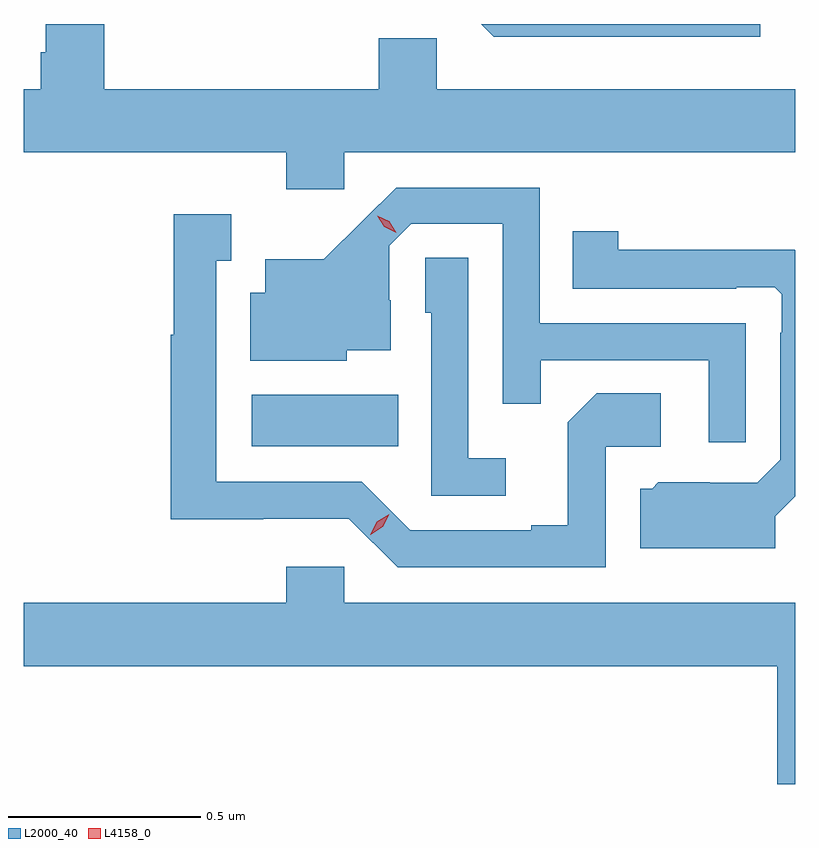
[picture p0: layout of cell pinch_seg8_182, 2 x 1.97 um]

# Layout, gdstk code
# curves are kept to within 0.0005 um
import gdstk
lib = gdstk.Library(unit=1e-6, precision=1e-09)
def R(c, l, rs):  # rectangles x0, y0, x1, y1
    for r in rs: c.add(gdstk.rectangle(r[:2], r[2:], *l))
def P(c, l, *ps):  # polygons
    for p in ps: c.add(gdstk.Polygon(p, *l))
L2000_40 = (2000, 40)
L4158_0 = (4158, 0)

pinch_seg8_182 = lib.new_cell('pinch_seg8_182')
R(pinch_seg8_182, L2000_40, [(633.324,1153.034,633.704,1153.168)])
P(pinch_seg8_182, L2000_40, [(632.789,1154.056),(632.777,1154.056),(632.777,1153.96),(632.733,1153.96),(632.733,1153.796),(633.413,1153.796),(633.413,1153.701),(633.564,1153.701),(633.564,1153.796),(634.733,1153.796),(634.733,1153.96),(633.804,1153.96),(633.804,1154.092),(633.653,1154.092),(633.653,1153.96),(632.942,1153.96),(632.942,1154.129),(632.789,1154.129)],
  [(634.642,1154.129),(633.919,1154.129),(633.952,1154.096),(634.642,1154.096)],
  [(634.605,1153.353),(634.071,1153.353),(634.071,1153.704),(633.698,1153.704),(633.511,1153.519),(633.359,1153.519),(633.359,1153.432),(633.32,1153.432),(633.32,1153.256),(633.57,1153.256),(633.57,1153.283),(633.685,1153.283),(633.685,1153.412),(633.681,1153.412),(633.681,1153.554),(633.738,1153.611),(633.975,1153.611),(633.975,1153.144),(634.073,1153.144),(634.073,1153.257),(634.509,1153.257),(634.509,1153.044),(634.605,1153.044)],
  [(634.242,1153.032),(634.384,1153.032),(634.384,1153.172),(634.219,1153.172),(634.143,1153.096),(634.143,1152.829),(634.049,1152.829),(634.049,1152.816),(633.735,1152.816),(633.609,1152.942),(633.232,1152.942),(633.232,1153.515),(633.271,1153.515),(633.271,1153.636),(633.121,1153.636),(633.121,1153.323),(633.114,1153.323),(633.114,1152.845),(633.354,1152.845),(633.354,1152.846),(633.576,1152.846),(633.702,1152.72),(634.242,1152.72)],
  [(634.681,1152.852),(634.733,1152.904),(634.733,1153.542),(634.732,1153.543),(634.631,1153.543),(634.631,1153.544),(634.275,1153.544),(634.275,1153.591),(634.156,1153.591),(634.156,1153.443),(634.58,1153.443),(634.58,1153.446),(634.68,1153.446),(634.698,1153.428),(634.698,1153.328),(634.695,1153.328),(634.695,1152.999),(634.635,1152.939),(634.512,1152.939),(634.512,1152.94),(634.378,1152.94),(634.362,1152.924),(634.331,1152.924),(634.331,1152.77),(634.681,1152.77)],
  [(633.982,1153.003),(633.885,1153.003),(633.885,1153.523),(633.774,1153.523),(633.774,1153.38),(633.789,1153.38),(633.789,1152.906),(633.982,1152.906)],
  [(634.733,1152.628),(633.564,1152.628),(633.564,1152.721),(633.413,1152.721),(633.413,1152.628),(632.733,1152.628),(632.733,1152.464),(634.687,1152.464),(634.687,1152.158),(634.733,1152.158)])
P(pinch_seg8_182, L4158_0, [(633.698,1153.588),(633.667,1153.603),(633.649,1153.632),(633.649,1153.632),(633.65,1153.632),(633.68,1153.617),(633.698,1153.588),(633.698,1153.588)],
  [(633.631,1152.805),(633.631,1152.805),(633.648,1152.838),(633.68,1152.858),(633.68,1152.858),(633.68,1152.857),(633.663,1152.825),(633.632,1152.805)])

lib.write_gds('pinch_seg8_182.gds')
